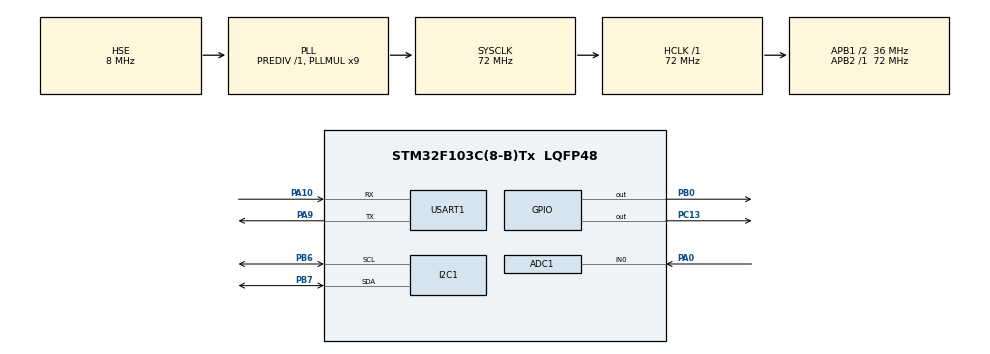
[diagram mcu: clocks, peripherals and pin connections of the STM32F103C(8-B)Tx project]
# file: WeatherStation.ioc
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ADC1.Channel-0\#ChannelRegularConversion=ADC_CHANNEL_0
ADC1.NbrOfConversionFlag=1
ADC1.Rank-0\#ChannelRegularConversion=1
ADC1.SamplingTime-0\#ChannelRegularConversion=ADC_SAMPLETIME_55CYCLES_5
ADC1.master=1
Mcu.Family=STM32F1
Mcu.Name=STM32F103C(8-B)Tx
Mcu.Package=LQFP48
NVIC.PriorityGroup=NVIC_PRIORITYGROUP_4
PA0-WKUP.Signal=ADCx_IN0
PA10.Mode=Asynchronous
PA10.Signal=USART1_RX
PA13.Mode=Serial_Wire
PA13.Signal=SYS_JTMS-SWDIO
PA14.Mode=Serial_Wire
PA14.Signal=SYS_JTCK-SWCLK
PA9.Mode=Asynchronous
PA9.Signal=USART1_TX
PB0.PinState=GPIO_PIN_SET
PB0.Signal=GPIO_Output
PB6.Mode=I2C
PB6.Signal=I2C1_SCL
PB7.Mode=I2C
PB7.Signal=I2C1_SDA
PC13-TAMPER-RTC.Signal=GPIO_Output
PD0-OSC_IN.Mode=HSE-External-Oscillator
PD0-OSC_IN.Signal=RCC_OSC_IN
PD1-OSC_OUT.Mode=HSE-External-Oscillator
PD1-OSC_OUT.Signal=RCC_OSC_OUT
ProjectManager.HeapSize=0x200
ProjectManager.StackSize=0x400
ProjectManager.TargetToolchain=MDK-ARM V5.32
RCC.ADCPresc=RCC_ADCPCLK2_DIV6
RCC.AHBFreq_Value=72000000
RCC.APB1CLKDivider=RCC_HCLK_DIV2
RCC.APB1Freq_Value=36000000
RCC.APB1TimFreq_Value=72000000
RCC.APB2Freq_Value=72000000
RCC.APB2TimFreq_Value=72000000
RCC.HCLKFreq_Value=72000000
RCC.PLLMUL=RCC_PLL_MUL9
RCC.PLLSourceVirtual=RCC_PLLSOURCE_HSE
RCC.SYSCLKFreq_VALUE=72000000
RCC.SYSCLKSource=RCC_SYSCLKSOURCE_PLLCLK
RCC.USBFreq_Value=72000000
SH.ADCx_IN0.0=ADC1_IN0,IN0
USART1.VirtualMode=VM_ASYNC
board=custom

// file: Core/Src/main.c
/* USER CODE BEGIN Header */
/**
  ******************************************************************************
  * @file           : main.c
  * @brief          : Main program body
  ******************************************************************************
  */
/* USER CODE END Header */
#include "main.h"

/* USER CODE BEGIN Includes */

#include "bmp388_stm32.h"
#include "sht30_stm32.h"
#include "bh1750_stm32.h"
#include "rain_sensor_stm32.h"
#include "weather_uart.h"

/* USER CODE END Includes */

/* USER CODE BEGIN PD */

/*
 * Rain states
 */
#define RAIN_STATE_DRY       0U
#define RAIN_STATE_LOW       1U
#define RAIN_STATE_HEAVY     2U

/*
 * Gia tri da hieu chuan gan dung:
 *
 * Dry        ~ 4000
 * Low rain   ~ 2000
 * Heavy rain ~ 1000
 *
 * Khong so sanh == 4000 / 2000 / 1000
 * vi ADC luon dao dong.
 *
 * Dung midpoint lam threshold:
 *
 * 3000 = midpoint 4000 va 2000
 * 1500 = midpoint 2000 va 1000
 */

#define RAIN_DRY_THRESHOLD       3000U
#define RAIN_HEAVY_THRESHOLD     1500U

/* USER CODE END PD */

ADC_HandleTypeDef hadc1;

I2C_HandleTypeDef hi2c1;

UART_HandleTypeDef huart1;

/* USER CODE BEGIN PV */

uint8_t bmp388_ok = 0;
uint8_t sht30_ok = 0;
uint8_t bh1750_ok = 0;
uint8_t rain_ok = 0;

uint8_t rain_state =
    RAIN_STATE_DRY;

float bmp_temperature_c =
    0.0f;

float bmp_pressure_hpa =
    0.0f;

float sht30_temperature_c =
    0.0f;

float sht30_humidity_rh =
    0.0f;

float bh1750_lux =
    0.0f;

uint16_t rain_raw =
    0;

/*
 * Du lieu chung cua Weather Station.
 *
 * Sau nay ESP32, OLED, SD card...
 * deu co the dung struct nay.
 */

WeatherData_t weather_data =
{
    0
};

/* USER CODE END PV */

void SystemClock_Config(void);
static void MX_GPIO_Init(void);
static void MX_USART1_UART_Init(void);
static void MX_I2C1_Init(void);
static void MX_ADC1_Init(void);
/* USER CODE BEGIN PFP */

void OLED_SetCursor(uint8_t column, uint8_t page);

void OLED_GetGlyph(char c, uint8_t glyph[5]);

void OLED_WriteChar(char c);

void OLED_WriteString(const char *str);

void OLED_WriteUnsigned(uint32_t value);

void OLED_WriteSignedFixed2(int32_t value);

void OLED_WriteUnsignedFixed2(uint32_t value);

/* USER CODE END PFP */

/* USER CODE BEGIN 0 */

#define OLED_ADDR      (0x3C << 1)

#define BMP388_ADDR_76 (0x76 << 1)
#define BMP388_ADDR_77 (0x77 << 1)

#define BMP388_REG_CHIP_ID 0x00
#define BMP388_CHIP_ID     0x50

uint16_t bmp388_addr = 0;
uint8_t bmp388_chip_id = 0;

/* ================= OLED ================= */

void OLED_Command(uint8_t cmd)
{
    uint8_t data[2];

    data[0] = 0x00;
    data[1] = cmd;

    HAL_I2C_Master_Transmit(
        &hi2c1,
        OLED_ADDR,
        data,
        2,
        HAL_MAX_DELAY
    );
}

void OLED_Data(uint8_t data_byte)
{
    uint8_t data[2];

    data[0] = 0x40;
    data[1] = data_byte;

    HAL_I2C_Master_Transmit(
        &hi2c1,
        OLED_ADDR,
        data,
        2,
        HAL_MAX_DELAY
    );
}

void OLED_Init(void)
{
    HAL_Delay(100);

    OLED_Command(0xAE);

    OLED_Command(0x20);
    OLED_Command(0x02);

    OLED_Command(0xB0);

    OLED_Command(0xC8);

    OLED_Command(0x00);
    OLED_Command(0x10);

    OLED_Command(0x40);

    OLED_Command(0x81);
    OLED_Command(0x7F);

    OLED_Command(0xA1);

    OLED_Command(0xA6);

    OLED_Command(0xA8);
    OLED_Command(0x3F);

    OLED_Command(0xA4);

    OLED_Command(0xD3);
    OLED_Command(0x00);

    OLED_Command(0xD5);
    OLED_Command(0x80);

    OLED_Command(0xD9);
    OLED_Command(0xF1);

    OLED_Command(0xDA);
    OLED_Command(0x12);

    OLED_Command(0xDB);
    OLED_Command(0x40);

    OLED_Command(0x8D);
    OLED_Command(0x14);

    OLED_Command(0xAF);
}

void OLED_Fill(uint8_t value)
{
    for (uint8_t page = 0; page < 8; page++)
    {
        OLED_Command(0xB0 + page);
        OLED_Command(0x00);
        OLED_Command(0x10);

        for (uint8_t col = 0; col < 128; col++)
        {
            OLED_Data(value);
        }
    }
}

/* ================= BMP388 ================= */

HAL_StatusTypeDef BMP388_ReadRegister(
    uint16_t device_addr,
    uint8_t reg,
    uint8_t *data
)
{
    return HAL_I2C_Mem_Read(
        &hi2c1,
        device_addr,
        reg,
        I2C_MEMADD_SIZE_8BIT,
        data,
        1,
        100
    );
}

uint8_t BMP388_Detect(void)
{
    /*
     * Thu 0x77 truoc
     */

    if (HAL_I2C_IsDeviceReady(
            &hi2c1,
            BMP388_ADDR_77,
            3,
            100) == HAL_OK)
    {
        bmp388_addr = BMP388_ADDR_77;
    }

    /*
     * Neu khong co 0x77 thi thu 0x76
     */

    else if (HAL_I2C_IsDeviceReady(
                 &hi2c1,
                 BMP388_ADDR_76,
                 3,
                 100) == HAL_OK)
    {
        bmp388_addr = BMP388_ADDR_76;
    }

    else
    {
        bmp388_addr = 0;
        return 0;
    }

    /*
     * Doc CHIP_ID register 0x00
     */

    if (BMP388_ReadRegister(
            bmp388_addr,
            BMP388_REG_CHIP_ID,
            &bmp388_chip_id) != HAL_OK)
    {
        return 0;
    }

    /*
     * BMP388 dung phai tra ve 0x50
     */

    if (bmp388_chip_id == BMP388_CHIP_ID)
    {
        return 1;
    }

    return 2;
}

/* USER CODE END 0 */

int main(void)
{

  /* MCU Configuration--------------------------------------------------------*/

  /* Reset of all peripherals, Initializes the Flash interface and the Systick. */
  HAL_Init();

  /* Configure the system clock */
  SystemClock_Config();

  /* Initialize all configured peripherals */
  MX_GPIO_Init();
  MX_USART1_UART_Init();
  MX_I2C1_Init();
  MX_ADC1_Init();
  /* USER CODE BEGIN 2 */

OLED_Init();

OLED_Fill(0x00);

/* =========================================================
   BUZZER OFF AT STARTUP

   Active LOW
   HIGH = OFF
   ========================================================= */

HAL_GPIO_WritePin(
    GPIOB,
    GPIO_PIN_0,
    GPIO_PIN_SET
);

/* =========================================================
   ADC CALIBRATION
   ========================================================= */

if (HAL_ADCEx_Calibration_Start(&hadc1) != HAL_OK)
{
    Error_Handler();
}

/* =========================================================
   INIT BMP388
   ========================================================= */

bmp388_ok =
    BMP388_Init(&hi2c1);

/* =========================================================
   INIT SHT30
   ========================================================= */

sht30_ok =
    SHT30_Init(&hi2c1);

/* =========================================================
   INIT BH1750
   ========================================================= */

bh1750_ok =
    BH1750_Init(&hi2c1);

/* =========================================================
   INIT RAIN SENSOR
   ========================================================= */

rain_ok =
    RainSensor_Init(&hadc1);

/* =========================================================
   CHECK ALL SENSORS
   ========================================================= */

if ((bmp388_ok == 0) ||
    (sht30_ok == 0) ||
    (bh1750_ok == 0) ||
    (rain_ok == 0))
{
    OLED_Fill(0xAA);
}
else
{
    OLED_SetCursor(0, 0);
    OLED_WriteString("T: ");

    OLED_SetCursor(0, 1);
    OLED_WriteString("H: ");

    OLED_SetCursor(0, 2);
    OLED_WriteString("P: ");

    OLED_SetCursor(0, 3);
    OLED_WriteString("L: ");

    OLED_SetCursor(0, 4);
    OLED_WriteString("R: ");
}

  /* USER CODE END 2 */

  /* Infinite loop */
  /* USER CODE BEGIN WHILE */

while (1)
{
    if (bmp388_ok &&
        sht30_ok &&
        bh1750_ok &&
        rain_ok)
    {
        uint8_t bmp_read_ok;
        uint8_t sht_read_ok;
        uint8_t bh1750_read_ok;
        uint8_t rain_read_ok;

        /* =============================================
           READ BMP388
           ============================================= */

        bmp_read_ok =
            BMP388_Read(
                &bmp_temperature_c,
                &bmp_pressure_hpa
            );

        /* =============================================
           READ SHT30
           ============================================= */

        sht_read_ok =
            SHT30_Read(
                &sht30_temperature_c,
                &sht30_humidity_rh
            );

        /* =============================================
           READ BH1750
           ============================================= */

        bh1750_read_ok =
            BH1750_ReadLux(
                &bh1750_lux
            );

        /* =============================================
           READ RAIN SENSOR
           ============================================= */

        rain_read_ok =
            RainSensor_ReadRaw(
                &rain_raw
            );

        if (bmp_read_ok &&
            sht_read_ok &&
            bh1750_read_ok &&
            rain_read_ok)
        {
            int32_t temperature_x100;

            uint32_t humidity_x100;

            uint32_t pressure_x100;

            uint32_t lux_integer;

            /* =========================================
               CONVERT SENSOR VALUES
               ========================================= */

            temperature_x100 =
                (int32_t)(
                    sht30_temperature_c *
                    100.0f
                );

            humidity_x100 =
                (uint32_t)(
                    sht30_humidity_rh *
                    100.0f
                );

            pressure_x100 =
                (uint32_t)(
                    bmp_pressure_hpa *
                    100.0f
                );

            lux_integer =
                (uint32_t)(
                    bh1750_lux
                );

            /* =========================================
               RAIN CLASSIFICATION
               ========================================= */

            if (rain_raw >=
                RAIN_DRY_THRESHOLD)
            {
                rain_state =
                    RAIN_STATE_DRY;
            }

            else if (
                rain_raw >=
                RAIN_HEAVY_THRESHOLD
            )
            {
                rain_state =
                    RAIN_STATE_LOW;
            }

            else
            {
                rain_state =
                    RAIN_STATE_HEAVY;
            }

            /* =========================================
               BUZZER

               Active LOW
               ========================================= */

            if (rain_state ==
                RAIN_STATE_DRY)
            {
                HAL_GPIO_WritePin(
                    GPIOB,
                    GPIO_PIN_0,
                    GPIO_PIN_SET
                );
            }

            else if (
                rain_state ==
                RAIN_STATE_LOW
            )
            {
                HAL_GPIO_WritePin(
                    GPIOB,
                    GPIO_PIN_0,
                    GPIO_PIN_RESET
                );

                HAL_Delay(150);

                HAL_GPIO_WritePin(
                    GPIOB,
                    GPIO_PIN_0,
                    GPIO_PIN_SET
                );
            }

            else
            {
                HAL_GPIO_WritePin(
                    GPIOB,
                    GPIO_PIN_0,
                    GPIO_PIN_RESET
                );
            }

            /* =========================================
               UPDATE WeatherData_t
               ========================================= */

            weather_data.temperature_x100 =
                (int16_t)(
                    temperature_x100
                );

            weather_data.humidity_x100 =
                (uint16_t)(
                    humidity_x100
                );

            weather_data.pressure_x100 =
                pressure_x100;

            weather_data.light_lux =
                (uint16_t)(
                    lux_integer
                );

            weather_data.rain_raw =
                rain_raw;

            weather_data.rain_state =
                rain_state;

            /* =========================================
               SEND STM32 -> ESP32
               ========================================= */

            WeatherUART_Send(
                &huart1,
                &weather_data
            );

            /* =========================================
               TEMPERATURE
               ========================================= */

            OLED_SetCursor(
                18,
                0
            );

            OLED_WriteString(
                "                 "
            );

            OLED_SetCursor(
                18,
                0
            );

            OLED_WriteSignedFixed2(
                temperature_x100
            );

            OLED_WriteString(
                " C"
            );

            /* =========================================
               HUMIDITY
               ========================================= */

            OLED_SetCursor(
                18,
                1
            );

            OLED_WriteString(
                "                 "
            );

            OLED_SetCursor(
                18,
                1
            );

            OLED_WriteUnsignedFixed2(
                humidity_x100
            );

            OLED_WriteString(
                " %"
            );

            /* =========================================
               PRESSURE
               ========================================= */

            OLED_SetCursor(
                18,
                2
            );

            OLED_WriteString(
                "                 "
            );

            OLED_SetCursor(
                18,
                2
            );

            OLED_WriteUnsignedFixed2(
                pressure_x100
            );

            OLED_WriteString(
                " hPa"
            );

            /* =========================================
               LIGHT
               ========================================= */

            OLED_SetCursor(
                18,
                3
            );

            OLED_WriteString(
                "                 "
            );

            OLED_SetCursor(
                18,
                3
            );

            OLED_WriteUnsigned(
                lux_integer
            );

            OLED_WriteString(
                " lux"
            );

            /* =========================================
               RAIN
               ========================================= */

            OLED_SetCursor(
                18,
                4
            );

            OLED_WriteString(
                "                 "
            );

            OLED_SetCursor(
                18,
                4
            );

            OLED_WriteUnsigned(
                rain_raw
            );

            OLED_WriteChar(
                ' '
            );

            if (rain_state ==
                RAIN_STATE_DRY)
            {
                OLED_WriteString(
                    "DRY"
                );
            }

            else if (
                rain_state ==
                RAIN_STATE_LOW
            )
            {
                OLED_WriteString(
                    "LOW"
                );
            }

            else
            {
                OLED_WriteString(
                    "HEAVY"
                );
            }
        }

        else
        {
            /*
             * Sensor error:
             * tat buzzer.
             */

            HAL_GPIO_WritePin(
                GPIOB,
                GPIO_PIN_0,
                GPIO_PIN_SET
            );
        }
    }

    /* =============================================
       HEARTBEAT
       ============================================= */

    HAL_GPIO_TogglePin(
        GPIOC,
        GPIO_PIN_13
    );

    HAL_Delay(
        1000
    );

    /* USER CODE END WHILE */

}
}

void SystemClock_Config(void)
{
  RCC_OscInitTypeDef RCC_OscInitStruct = {0};
  RCC_ClkInitTypeDef RCC_ClkInitStruct = {0};
  RCC_PeriphCLKInitTypeDef PeriphClkInit = {0};

  /** Initializes the RCC Oscillators according to the specified parameters
  * in the RCC_OscInitTypeDef structure.
  */
  RCC_OscInitStruct.OscillatorType = RCC_OSCILLATORTYPE_HSE;
  RCC_OscInitStruct.HSEState = RCC_HSE_ON;
  RCC_OscInitStruct.HSEPredivValue = RCC_HSE_PREDIV_DIV1;
  RCC_OscInitStruct.HSIState = RCC_HSI_ON;
  RCC_OscInitStruct.PLL.PLLState = RCC_PLL_ON;
  RCC_OscInitStruct.PLL.PLLSource = RCC_PLLSOURCE_HSE;
  RCC_OscInitStruct.PLL.PLLMUL = RCC_PLL_MUL9;
  if (HAL_RCC_OscConfig(&RCC_OscInitStruct) != HAL_OK)
  {
    Error_Handler();
  }

  /** Initializes the CPU, AHB and APB buses clocks
  */
  RCC_ClkInitStruct.ClockType = RCC_CLOCKTYPE_HCLK|RCC_CLOCKTYPE_SYSCLK
                              |RCC_CLOCKTYPE_PCLK1|RCC_CLOCKTYPE_PCLK2;
  RCC_ClkInitStruct.SYSCLKSource = RCC_SYSCLKSOURCE_PLLCLK;
  RCC_ClkInitStruct.AHBCLKDivider = RCC_SYSCLK_DIV1;
  RCC_ClkInitStruct.APB1CLKDivider = RCC_HCLK_DIV2;
  RCC_ClkInitStruct.APB2CLKDivider = RCC_HCLK_DIV1;

  if (HAL_RCC_ClockConfig(&RCC_ClkInitStruct, FLASH_LATENCY_2) != HAL_OK)
  {
    Error_Handler();
  }
  PeriphClkInit.PeriphClockSelection = RCC_PERIPHCLK_ADC;
  PeriphClkInit.AdcClockSelection = RCC_ADCPCLK2_DIV6;
  if (HAL_RCCEx_PeriphCLKConfig(&PeriphClkInit) != HAL_OK)
  {
    Error_Handler();
  }
}

static void MX_ADC1_Init(void)
{

  ADC_ChannelConfTypeDef sConfig = {0};

  /** Common config
  */
  hadc1.Instance = ADC1;
  hadc1.Init.ScanConvMode = ADC_SCAN_DISABLE;
  hadc1.Init.ContinuousConvMode = DISABLE;
  hadc1.Init.DiscontinuousConvMode = DISABLE;
  hadc1.Init.ExternalTrigConv = ADC_SOFTWARE_START;
  hadc1.Init.DataAlign = ADC_DATAALIGN_RIGHT;
  hadc1.Init.NbrOfConversion = 1;
  if (HAL_ADC_Init(&hadc1) != HAL_OK)
  {
    Error_Handler();
  }

  /** Configure Regular Channel
  */
  sConfig.Channel = ADC_CHANNEL_0;
  sConfig.Rank = ADC_REGULAR_RANK_1;
  sConfig.SamplingTime = ADC_SAMPLETIME_55CYCLES_5;
  if (HAL_ADC_ConfigChannel(&hadc1, &sConfig) != HAL_OK)
  {
    Error_Handler();
  }

}

static void MX_I2C1_Init(void)
{

  hi2c1.Instance = I2C1;
  hi2c1.Init.ClockSpeed = 100000;
  hi2c1.Init.DutyCycle = I2C_DUTYCYCLE_2;
  hi2c1.Init.OwnAddress1 = 0;
  hi2c1.Init.AddressingMode = I2C_ADDRESSINGMODE_7BIT;
  hi2c1.Init.DualAddressMode = I2C_DUALADDRESS_DISABLE;
  hi2c1.Init.OwnAddress2 = 0;
  hi2c1.Init.GeneralCallMode = I2C_GENERALCALL_DISABLE;
  hi2c1.Init.NoStretchMode = I2C_NOSTRETCH_DISABLE;
  if (HAL_I2C_Init(&hi2c1) != HAL_OK)
  {
    Error_Handler();
  }

}

static void MX_USART1_UART_Init(void)
{

  huart1.Instance = USART1;
  huart1.Init.BaudRate = 115200;
  huart1.Init.WordLength = UART_WORDLENGTH_8B;
  huart1.Init.StopBits = UART_STOPBITS_1;
  huart1.Init.Parity = UART_PARITY_NONE;
  huart1.Init.Mode = UART_MODE_TX_RX;
  huart1.Init.HwFlowCtl = UART_HWCONTROL_NONE;
  huart1.Init.OverSampling = UART_OVERSAMPLING_16;
  if (HAL_UART_Init(&huart1) != HAL_OK)
  {
    Error_Handler();
  }

}

static void MX_GPIO_Init(void)
{
  GPIO_InitTypeDef GPIO_InitStruct = {0};

  /* GPIO Ports Clock Enable */
  __HAL_RCC_GPIOC_CLK_ENABLE();
  __HAL_RCC_GPIOD_CLK_ENABLE();
  __HAL_RCC_GPIOA_CLK_ENABLE();
  __HAL_RCC_GPIOB_CLK_ENABLE();

  /*Configure GPIO pin Output Level */
  HAL_GPIO_WritePin(GPIOC, GPIO_PIN_13, GPIO_PIN_RESET);

  /*Configure GPIO pin Output Level */
  HAL_GPIO_WritePin(GPIOB, GPIO_PIN_0, GPIO_PIN_SET);

  /*Configure GPIO pin : PC13 */
  GPIO_InitStruct.Pin = GPIO_PIN_13;
  GPIO_InitStruct.Mode = GPIO_MODE_OUTPUT_PP;
  GPIO_InitStruct.Pull = GPIO_NOPULL;
  GPIO_InitStruct.Speed = GPIO_SPEED_FREQ_LOW;
  HAL_GPIO_Init(GPIOC, &GPIO_InitStruct);

  /*Configure GPIO pin : PB0 */
  GPIO_InitStruct.Pin = GPIO_PIN_0;
  GPIO_InitStruct.Mode = GPIO_MODE_OUTPUT_PP;
  GPIO_InitStruct.Pull = GPIO_NOPULL;
  GPIO_InitStruct.Speed = GPIO_SPEED_FREQ_LOW;
  HAL_GPIO_Init(GPIOB, &GPIO_InitStruct);

}

/* USER CODE BEGIN 4 */

/* =========================================================
   OLED CURSOR
   ========================================================= */

void OLED_SetCursor(uint8_t column, uint8_t page)
{
    OLED_Command(0xB0 + page);

    OLED_Command(
        0x00 | (column & 0x0F)
    );

    OLED_Command(
        0x10 | ((column >> 4) & 0x0F)
    );
}

/* =========================================================
   MINI FONT 5x7
   Chi can cac ky tu dang dung cho BMP388
   ========================================================= */

void OLED_GetGlyph(char c, uint8_t glyph[5])
{
    uint8_t i;

    for (i = 0; i < 5; i++)
    {
        glyph[i] = 0x00;
    }

    switch (c)
    {
        case '0':
        {
            uint8_t g[5] =
            {0x3E, 0x51, 0x49, 0x45, 0x3E};

            for (i = 0; i < 5; i++)
                glyph[i] = g[i];

            break;
        }

        case '1':
        {
            uint8_t g[5] =
            {0x00, 0x42, 0x7F, 0x40, 0x00};

            for (i = 0; i < 5; i++)
                glyph[i] = g[i];

            break;
        }

        case '2':
        {
            uint8_t g[5] =
            {0x42, 0x61, 0x51, 0x49, 0x46};

            for (i = 0; i < 5; i++)
                glyph[i] = g[i];

            break;
        }

        case '3':
        {
            uint8_t g[5] =
            {0x21, 0x41, 0x45, 0x4B, 0x31};

            for (i = 0; i < 5; i++)
                glyph[i] = g[i];

            break;
        }

        case '4':
        {
            uint8_t g[5] =
            {0x18, 0x14, 0x12, 0x7F, 0x10};

            for (i = 0; i < 5; i++)
                glyph[i] = g[i];

            break;
        }

        case '5':
        {
            uint8_t g[5] =
            {0x27, 0x45, 0x45, 0x45, 0x39};

            for (i = 0; i < 5; i++)
                glyph[i] = g[i];

            break;
        }

        case '6':
        {
            uint8_t g[5] =
            {0x3C, 0x4A, 0x49, 0x49, 0x30};

            for (i = 0; i < 5; i++)
                glyph[i] = g[i];

            break;
        }

        case '7':
        {
            uint8_t g[5] =
            {0x01, 0x71, 0x09, 0x05, 0x03};

            for (i = 0; i < 5; i++)
                glyph[i] = g[i];

            break;
        }

        case '8':
        {
            uint8_t g[5] =
            {0x36, 0x49, 0x49, 0x49, 0x36};

            for (i = 0; i < 5; i++)
                glyph[i] = g[i];

            break;
        }

        case '9':
        {
            uint8_t g[5] =
            {0x06, 0x49, 0x49, 0x29, 0x1E};

            for (i = 0; i < 5; i++)
                glyph[i] = g[i];

            break;
        }

        case 'A':
        {
            uint8_t g[5] =
            {0x7E, 0x11, 0x11, 0x11, 0x7E};

            for (i = 0; i < 5; i++)
                glyph[i] = g[i];

            break;
        }

        case 'C':
        {
            uint8_t g[5] =
            {0x3E, 0x41, 0x41, 0x41, 0x22};

            for (i = 0; i < 5; i++)
                glyph[i] = g[i];

            break;
        }

        case 'D':
        {
            uint8_t g[5] =
            {0x7F, 0x41, 0x41, 0x22, 0x1C};

            for (i = 0; i < 5; i++)
                glyph[i] = g[i];

            break;
        }

        case 'E':
        {
            uint8_t g[5] =
            {0x7F, 0x49, 0x49, 0x49, 0x41};

            for (i = 0; i < 5; i++)
                glyph[i] = g[i];

            break;
        }

        case 'H':
        {
            uint8_t g[5] =
            {0x7F, 0x08, 0x08, 0x08, 0x7F};

            for (i = 0; i < 5; i++)
                glyph[i] = g[i];

            break;
        }

        case 'L':
        {
            uint8_t g[5] =
            {0x7F, 0x40, 0x40, 0x40, 0x40};

            for (i = 0; i < 5; i++)
                glyph[i] = g[i];

            break;
        }

        case 'O':
        {
            uint8_t g[5] =
            {0x3E, 0x41, 0x41, 0x41, 0x3E};

            for (i = 0; i < 5; i++)
                glyph[i] = g[i];

            break;
        }

        case 'P':
        {
            uint8_t g[5] =
            {0x7F, 0x09, 0x09, 0x09, 0x06};

            for (i = 0; i < 5; i++)
                glyph[i] = g[i];

            break;
        }

        case 'R':
        {
            uint8_t g[5] =
            {0x7F, 0x09, 0x19, 0x29, 0x46};

            for (i = 0; i < 5; i++)
                glyph[i] = g[i];

            break;
        }

        case 'T':
        {
            uint8_t g[5] =
            {0x01, 0x01, 0x7F, 0x01, 0x01};

            for (i = 0; i < 5; i++)
                glyph[i] = g[i];

            break;
        }

        case 'V':
        {
            uint8_t g[5] =
            {0x1F, 0x20, 0x40, 0x20, 0x1F};

            for (i = 0; i < 5; i++)
                glyph[i] = g[i];

            break;
        }

        case 'W':
        {
            uint8_t g[5] =
            {0x3F, 0x40, 0x38, 0x40, 0x3F};

            for (i = 0; i < 5; i++)
                glyph[i] = g[i];

            break;
        }

        case 'Y':
        {
            uint8_t g[5] =
            {0x03, 0x04, 0x78, 0x04, 0x03};

            for (i = 0; i < 5; i++)
                glyph[i] = g[i];

            break;
        }

        case 'h':
        {
            uint8_t g[5] =
            {0x7F, 0x08, 0x04, 0x04, 0x78};

            for (i = 0; i < 5; i++)
                glyph[i] = g[i];

            break;
        }

        case 'a':
        {
            uint8_t g[5] =
            {0x20, 0x54, 0x54, 0x54, 0x78};

            for (i = 0; i < 5; i++)
                glyph[i] = g[i];

            break;
        }

        case 'l':
        {
            uint8_t g[5] =
            {0x00, 0x41, 0x7F, 0x40, 0x00};

            for (i = 0; i < 5; i++)
                glyph[i] = g[i];

            break;
        }

        case 'u':
        {
            uint8_t g[5] =
            {0x3C, 0x40, 0x40, 0x20, 0x7C};

            for (i = 0; i < 5; i++)
                glyph[i] = g[i];

            break;
        }

        case 'x':
        {
            uint8_t g[5] =
            {0x44, 0x28, 0x10, 0x28, 0x44};

            for (i = 0; i < 5; i++)
                glyph[i] = g[i];

            break;
        }

        case '%':
        {
            uint8_t g[5] =
            {0x63, 0x13, 0x08, 0x64, 0x63};

            for (i = 0; i < 5; i++)
                glyph[i] = g[i];

            break;
        }

        case ':':
        {
            uint8_t g[5] =
            {0x00, 0x36, 0x36, 0x00, 0x00};

            for (i = 0; i < 5; i++)
                glyph[i] = g[i];

            break;
        }

        case '.':
        {
            uint8_t g[5] =
            {0x00, 0x60, 0x60, 0x00, 0x00};

            for (i = 0; i < 5; i++)
                glyph[i] = g[i];

            break;
        }

        case '-':
        {
            uint8_t g[5] =
            {0x08, 0x08, 0x08, 0x08, 0x08};

            for (i = 0; i < 5; i++)
                glyph[i] = g[i];

            break;
        }

        case ' ':
        default:
            break;
    }
}

/* =========================================================
   WRITE CHARACTER
   ========================================================= */

void OLED_WriteChar(char c)
{
    uint8_t glyph[5];

    OLED_GetGlyph(c, glyph);

    for (uint8_t i = 0; i < 5; i++)
    {
        OLED_Data(glyph[i]);
    }

    OLED_Data(0x00);
}

/* =========================================================
   WRITE STRING
   ========================================================= */

void OLED_WriteString(const char *str)
{
    while (*str)
    {
        OLED_WriteChar(*str);

        str++;
    }
}

/* =========================================================
   WRITE UNSIGNED INTEGER
   ========================================================= */

void OLED_WriteUnsigned(uint32_t value)
{
    char buffer[11];

    uint8_t index = 0;

    if (value == 0)
    {
        OLED_WriteChar('0');

        return;
    }

    while (value > 0)
    {
        buffer[index++] =
            '0' + (value % 10);

        value /= 10;
    }

    while (index > 0)
    {
        OLED_WriteChar(
            buffer[--index]
        );
    }
}

/* =========================================================
   WRITE SIGNED NUMBER WITH 2 DECIMALS

   Example:
   2835 -> 28.35
   ========================================================= */

void OLED_WriteSignedFixed2(int32_t value)
{
    uint32_t abs_value;

    uint32_t integer_part;

    uint32_t decimal_part;

    if (value < 0)
    {
        OLED_WriteChar('-');

        abs_value =
            (uint32_t)(-value);
    }
    else
    {
        abs_value =
            (uint32_t)value;
    }

    integer_part =
        abs_value / 100;

    decimal_part =
        abs_value % 100;

    OLED_WriteUnsigned(integer_part);

    OLED_WriteChar('.');

    OLED_WriteChar(
        '0' + (decimal_part / 10)
    );

    OLED_WriteChar(
        '0' + (decimal_part % 10)
    );
}

/* =========================================================
   WRITE UNSIGNED NUMBER WITH 2 DECIMALS
   ========================================================= */

void OLED_WriteUnsignedFixed2(uint32_t value)
{
    uint32_t integer_part;

    uint32_t decimal_part;

    integer_part =
        value / 100;

    decimal_part =
        value % 100;

    OLED_WriteUnsigned(integer_part);

    OLED_WriteChar('.');

    OLED_WriteChar(
        '0' + (decimal_part / 10)
    );

    OLED_WriteChar(
        '0' + (decimal_part % 10)
    );
}

/* USER CODE END 4 */

void Error_Handler(void)
{
    __disable_irq();
    while (1)
    {
    }
}
